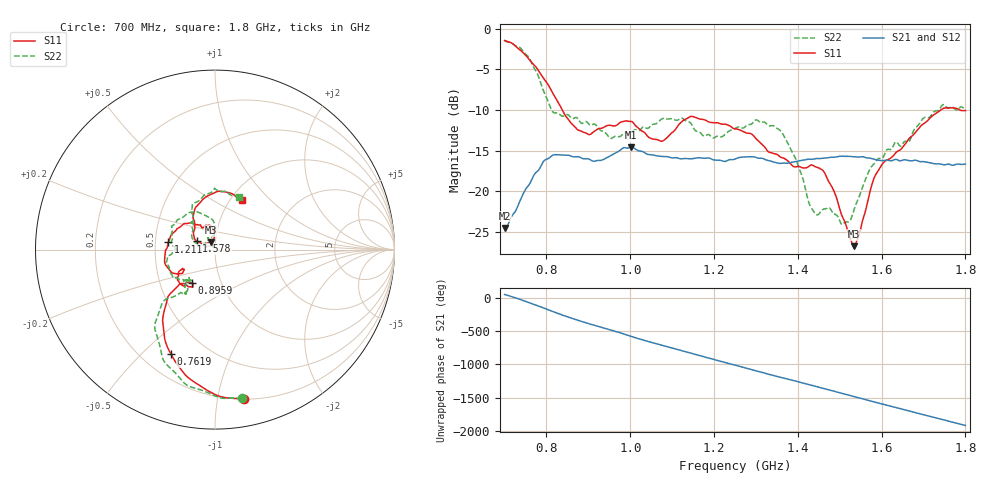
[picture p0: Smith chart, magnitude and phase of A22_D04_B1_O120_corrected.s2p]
! Created with skrf 1.9.0 (http://scikit-rf.org).
# Hz S RI R 50.0
!freq ReS11 ImS11 ReS21 ImS21 ReS12 ImS12 ReS22 ImS22
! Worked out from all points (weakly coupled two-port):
!   1601 points, 700 MHz to 1.8 GHz, reference 50 ohm
!   highest |S21| = -14.57 dB at 1.002 GHz (marker M1); lowest = -24.5 dB at 701.4 MHz (marker M2)
!   lowest |S11| = -26.7 dB at 1.534 GHz (marker M3), VSWR 1.10, Z = 47.7 + j3.9 ohm
!   |S11| at or under -10 dB: 837.7 MHz to 1.741 GHz (903.4 MHz wide, 70.1 % of centre); 1.787 GHz to end of sweep
!   |S22| runs from -24.1 to -1.5 dB; largest |S21 - S12| = 0.0035
!   S11 on the Smith chart (normalised r, x): 700 MHz: 0.20, -1.19; 761.9 MHz: 0.32, -0.62; 895.9 MHz: 0.72, -0.29; 1.211 GHz: 0.59, +0.05; 1.578 GHz: 0.81, +0.08; 1.8 GHz: 1.12, +0.69
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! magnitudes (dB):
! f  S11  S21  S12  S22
! 700 MHz  -1.4  -24.5  -24.3  -1.5
! 701.4 MHz  -1.5  -24.5  -24.1  -1.5
! 761.9 MHz  -4.0  -18.9  -18.8  -3.9
! 814.8 MHz  -7.9  -15.6  -15.6  -10.2
! 883.6 MHz  -12.6  -15.9  -15.8  -11.6
! 895.9 MHz  -12.9  -16.0  -16.1  -11.4
! 953 MHz  -11.9  -15.6  -15.6  -13.5
! 1.002 GHz  -11.4  -14.6  -14.7  -12.8
! 1.067 GHz  -13.7  -15.7  -15.6  -11.5
! 1.143 GHz  -10.8  -16.0  -16.0  -11.6
! 1.211 GHz  -11.6  -16.2  -16.2  -13.2
! 1.25 GHz  -12.3  -16.0  -15.9  -12.3
! 1.359 GHz  -15.8  -16.5  -16.5  -12.5
! 1.396 GHz  -17.0  -16.3  -16.3  -16.2
! 1.434 GHz  -16.7  -16.1  -16.0  -22.1
! 1.465 GHz  -17.9  -15.9  -15.9  -22.2
! 1.507 GHz  -23.2  -15.7  -15.6  -24.1
! 1.534 GHz  -26.7  -15.7  -15.8  -22.3
! 1.578 GHz  -19.0  -16.0  -16.0  -16.8
! 1.617 GHz  -16.1  -16.2  -16.2  -14.8
! 1.743 GHz  -9.9  -16.7  -16.6  -9.5
! 1.8 GHz  -10.1  -16.6  -16.6  -9.9
